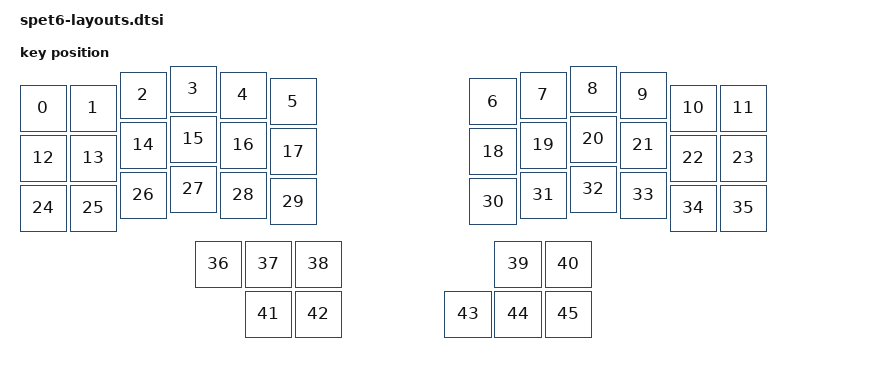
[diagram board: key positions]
/*
 * Copyright (c) 2020 Pete Johanson
 *
 * SPDX-License-Identifier: MIT
 */


#include <physical_layouts.dtsi>

/ {
    physical_layout0: physical_layout_0 {
        compatible = "zmk,physical-layout";
        display-name = "SP ET6 Default";
        kscan = <&kscan0>;
        transform = <&default_transform>;

        keys  //                     w   h    x    y     rot    rx    ry
            = <&key_physical_attrs 100 100    0   38       0     0     0>
            , <&key_physical_attrs 100 100  100   38       0     0     0>
            , <&key_physical_attrs 100 100  200   12       0     0     0>
            , <&key_physical_attrs 100 100  300    0       0     0     0>
            , <&key_physical_attrs 100 100  400   12       0     0     0>
            , <&key_physical_attrs 100 100  500   25       0     0     0>
            , <&key_physical_attrs 100 100  900   25       0     0     0>
            , <&key_physical_attrs 100 100 1000   12       0     0     0>
            , <&key_physical_attrs 100 100 1100    0       0     0     0>
            , <&key_physical_attrs 100 100 1200   12       0     0     0>
            , <&key_physical_attrs 100 100 1300   38       0     0     0>
            , <&key_physical_attrs 100 100 1400   38       0     0     0>
            , <&key_physical_attrs 100 100    0  138       0     0     0>
            , <&key_physical_attrs 100 100  100  138       0     0     0>
            , <&key_physical_attrs 100 100  200  112       0     0     0>
            , <&key_physical_attrs 100 100  300  100       0     0     0>
            , <&key_physical_attrs 100 100  400  112       0     0     0>
            , <&key_physical_attrs 100 100  500  125       0     0     0>
            , <&key_physical_attrs 100 100  900  125       0     0     0>
            , <&key_physical_attrs 100 100 1000  112       0     0     0>
            , <&key_physical_attrs 100 100 1100  100       0     0     0>
            , <&key_physical_attrs 100 100 1200  112       0     0     0>
            , <&key_physical_attrs 100 100 1300  138       0     0     0>
            , <&key_physical_attrs 100 100 1400  138       0     0     0>
            , <&key_physical_attrs 100 100    0  238       0     0     0>
            , <&key_physical_attrs 100 100  100  238       0     0     0>
            , <&key_physical_attrs 100 100  200  212       0     0     0>
            , <&key_physical_attrs 100 100  300  200       0     0     0>
            , <&key_physical_attrs 100 100  400  212       0     0     0>
            , <&key_physical_attrs 100 100  500  225       0     0     0>
            , <&key_physical_attrs 100 100  900  225       0     0     0>
            , <&key_physical_attrs 100 100 1000  212       0     0     0>
            , <&key_physical_attrs 100 100 1100  200       0     0     0>
            , <&key_physical_attrs 100 100 1200  212       0     0     0>
            , <&key_physical_attrs 100 100 1300  238       0     0     0>
            , <&key_physical_attrs 100 100 1400  238       0     0     0>
            , <&key_physical_attrs 100 100  350  350       0     0     0>
            , <&key_physical_attrs 100 100  450  350       0     0     0>
            , <&key_physical_attrs 100 100  550  350       0     0     0>
            , <&key_physical_attrs 100 100  950  350       0     0     0>
            , <&key_physical_attrs 100 100 1050  350       0     0     0>
            , <&key_physical_attrs 100 100  450  450       0     0     0>
            , <&key_physical_attrs 100 100  550  450       0     0     0>
            , <&key_physical_attrs 100 100  850  450       0     0     0>
            , <&key_physical_attrs 100 100  950  450       0     0     0>
            , <&key_physical_attrs 100 100 1050  450       0     0     0>
            ;
    };
};
